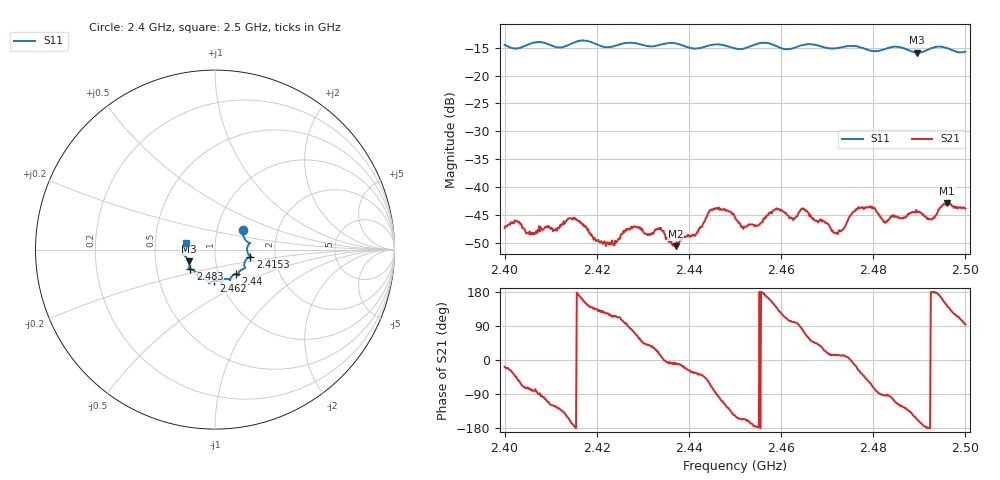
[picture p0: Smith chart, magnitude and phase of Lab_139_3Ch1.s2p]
# Hz S RI R 50
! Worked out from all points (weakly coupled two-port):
!   601 points, 2.4 GHz to 2.5 GHz, reference 50 ohm
!   highest |S21| = -42.95 dB at 2.496 GHz (marker M1); lowest = -50.6 dB at 2.4372 GHz (marker M2)
!   lowest |S11| = -15.9 dB at 2.4895 GHz (marker M3), VSWR 1.38, Z = 37 - j5 ohm
!   |S11| at or under -10 dB: start of sweep to end of sweep
!   S12 and S22 are empty: the file has one direction only
!   S11 on the Smith chart (normalised r, x): 2.4 GHz: 1.33, +0.29; 2.4153 GHz: 1.48, -0.12; 2.44 GHz: 1.21, -0.34; 2.462 GHz: 0.93, -0.33; 2.483 GHz: 0.74, -0.17; 2.5 GHz: 0.72, +0.06
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2.4e9  0.1552 0.1067  0.00407 -0.00131  0 0  0 0
2.406167e9  0.193 0.0377  0.000483 -0.00371  0 0  0 0
2.415333e9  0.1962 -0.0385  -0.00525 -0.000114  0 0  0 0
2.416667e9  0.2019 -0.0426  -0.0045 0.00143  0 0  0 0
2.422333e9  0.1659 -0.0683  -0.00174 0.00262  0 0  0 0
2.433333e9  0.131 -0.1335  0.00392 0.00154  0 0  0 0
2.437167e9  0.1318 -0.1428  0.0029 -0.000439  0 0  0 0
2.44e9  0.1143 -0.1367  0.00321 -0.00171  0 0  0 0
2.445e9  0.0845 -0.1685  0.00197 -0.00597  0 0  0 0
2.45e9  0.0645 -0.1627  -0.00442 -0.0029  0 0  0 0
2.451833e9  0.0455 -0.1681  -0.00384 -0.0017  0 0  0 0
2.458833e9  0.032 -0.1817  -0.00496 0.00385  0 0  0 0
2.462e9  -0.00518 -0.1733  -0.00114 0.00513  0 0  0 0
2.466667e9  -0.0344 -0.1877  0.00341 0.00401  0 0  0 0
2.471833e9  -0.0681 -0.1617  0.00375 0.000965  0 0  0 0
2.477167e9  -0.0965 -0.1517  0.00543 -0.00351  0 0  0 0
2.483e9  -0.1374 -0.1095  -0.000373 -0.00487  0 0  0 0
2.483333e9  -0.1401 -0.1093  -0.000381 -0.00504  0 0  0 0
2.4895e9  -0.1462 -0.0659  -0.00551 -0.00237  0 0  0 0
2.492667e9  -0.1736 -0.0295  -0.00509 6.66e-05  0 0  0 0
2.496e9  -0.1757 -0.0149  -0.00575 0.0042  0 0  0 0
2.5e9  -0.1595 0.0391  -0.000417 0.00638  0 0  0 0
